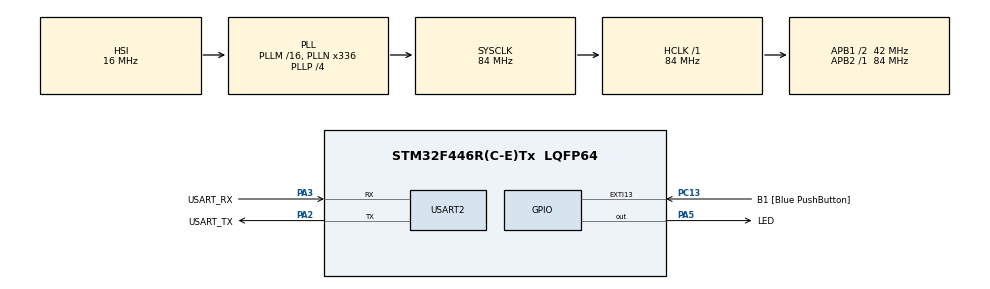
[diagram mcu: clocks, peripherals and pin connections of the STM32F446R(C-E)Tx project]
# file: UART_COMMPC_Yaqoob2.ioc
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Dma.Request0=USART2_RX
Dma.USART2_RX.0.Direction=DMA_PERIPH_TO_MEMORY
Dma.USART2_RX.0.FIFOMode=DMA_FIFOMODE_DISABLE
Dma.USART2_RX.0.Instance=DMA1_Stream5
Dma.USART2_RX.0.MemDataAlignment=DMA_MDATAALIGN_BYTE
Dma.USART2_RX.0.MemInc=DMA_MINC_ENABLE
Dma.USART2_RX.0.Mode=DMA_NORMAL
Dma.USART2_RX.0.PeriphDataAlignment=DMA_PDATAALIGN_BYTE
Dma.USART2_RX.0.PeriphInc=DMA_PINC_DISABLE
Dma.USART2_RX.0.Priority=DMA_PRIORITY_LOW
Mcu.Family=STM32F4
Mcu.Name=STM32F446R(C-E)Tx
Mcu.Package=LQFP64
NVIC.DMA1_Stream5_IRQn=true\:0\:0\:false\:false\:true\:false\:true
NVIC.PriorityGroup=NVIC_PRIORITYGROUP_0
NVIC.USART2_IRQn=true\:0\:0\:false\:false\:true\:true\:true
PA13.GPIO_Label=TMS
PA13.Signal=SYS_JTMS-SWDIO
PA14.GPIO_Label=TCK
PA14.Signal=SYS_JTCK-SWCLK
PA2.GPIO_Label=USART_TX
PA2.Mode=Asynchronous
PA2.Signal=USART2_TX
PA3.GPIO_Label=USART_RX
PA3.Mode=Asynchronous
PA3.Signal=USART2_RX
PA5.GPIO_Label=LED
PA5.Signal=GPIO_Output
PB3.GPIO_Label=SWO
PB3.Signal=SYS_JTDO-SWO
PC13.GPIO_Label=B1 [Blue PushButton]
PC13.GPIO_ModeDefaultEXTI=GPIO_MODE_IT_FALLING
PC13.Signal=GPXTI13
PC14-OSC32_IN.Signal=RCC_OSC32_IN
PC15-OSC32_OUT.Signal=RCC_OSC32_OUT
PH0-OSC_IN.Signal=RCC_OSC_IN
PH1-OSC_OUT.Signal=RCC_OSC_OUT
ProjectManager.HeapSize=0x200
ProjectManager.StackSize=0x400
ProjectManager.TargetToolchain=STM32CubeIDE
RCC.AHBFreq_Value=84000000
RCC.APB1CLKDivider=RCC_HCLK_DIV2
RCC.APB1Freq_Value=42000000
RCC.APB1TimFreq_Value=84000000
RCC.APB2Freq_Value=84000000
RCC.APB2TimFreq_Value=84000000
RCC.CortexFreq_Value=84000000
RCC.FLatency-AdvancedSettings=FLASH_LATENCY_2
RCC.HCLKFreq_Value=84000000
RCC.HSE_VALUE=8000000
RCC.HSI_VALUE=16000000
RCC.LSE_VALUE=32768
RCC.PLLN=336
RCC.PLLP=RCC_PLLP_DIV4
RCC.SYSCLKFreq_VALUE=84000000
RCC.SYSCLKSource=RCC_SYSCLKSOURCE_PLLCLK
RCC.USBFreq_Value=168000000
RCC.VCOOutputFreq_Value=336000000
USART2.VirtualMode=VM_ASYNC
board=NUCLEO-F446RE

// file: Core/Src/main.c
/* USER CODE BEGIN Header */
/**
  ******************************************************************************
  * @file           : main.c
  * @brief          : Main program body
  ******************************************************************************
  * @attention
  *
  * <h2><center>&copy; Copyright (c) 2020 STMicroelectronics.
  * All rights reserved.</center></h2>
  *
  * This software component is licensed by ST under BSD 3-Clause license,
  * the "License"; You may not use this file except in compliance with the
  * License. You may obtain a copy of the License at:
  *                        opensource.org/licenses/BSD-3-Clause
  *
  ******************************************************************************
  */
/* USER CODE END Header */

#include "main.h"

/* USER CODE BEGIN Includes */
#include <stdio.h>  //printf
#include <string.h>
/* USER CODE END Includes */

/* USER CODE BEGIN PTD */
#ifdef __GNUC__
  /* With GCC, small printf (option LD Linker->Libraries->Small printf
     set to 'Yes') calls __io_putchar() */
  #define PUTCHAR_PROTOTYPE int __io_putchar(int ch)
#else
  #define PUTCHAR_PROTOTYPE int fputc(int ch, FILE *f)
#endif /* __GNUC__ */
/* USER CODE END PTD */

UART_HandleTypeDef huart2;
DMA_HandleTypeDef hdma_usart2_rx;

void SystemClock_Config(void);
static void MX_GPIO_Init(void);
static void MX_DMA_Init(void);
static void MX_USART2_UART_Init(void);
/* USER CODE BEGIN PFP */
void application_handling(char *cmd);
/* USER CODE END PFP */

/* USER CODE BEGIN 0 */
char rxBuf[25];

//UART state machine
typedef enum
{
	UT_START = 0,
	UT_APP,
}Uart_StateMachine;

Uart_StateMachine myUART_State = UT_START;
/* USER CODE END 0 */

int main(void)
{

  /* MCU Configuration--------------------------------------------------------*/

  /* Reset of all peripherals, Initializes the Flash interface and the Systick. */
  HAL_Init();

  /* Configure the system clock */
  SystemClock_Config();

  /* Initialize all configured peripherals */
  MX_GPIO_Init();
  MX_DMA_Init();
  MX_USART2_UART_Init();
  /* USER CODE BEGIN 2 */
  printf("Starting my application...\r\n");

  //** Fixed size command of 3 bytes *[]#, Initialise
  //Handles received data
  	HAL_UART_Receive_DMA(&huart2, (uint8_t *)rxBuf, 3);
  /* USER CODE END 2 */

  /* Infinite loop */
  while (1)
  {

  }
}

void SystemClock_Config(void)
{
  RCC_OscInitTypeDef RCC_OscInitStruct = {0};
  RCC_ClkInitTypeDef RCC_ClkInitStruct = {0};

  /** Configure the main internal regulator output voltage
  */
  __HAL_RCC_PWR_CLK_ENABLE();
  __HAL_PWR_VOLTAGESCALING_CONFIG(PWR_REGULATOR_VOLTAGE_SCALE3);
  /** Initializes the CPU, AHB and APB busses clocks
  */
  RCC_OscInitStruct.OscillatorType = RCC_OSCILLATORTYPE_HSI;
  RCC_OscInitStruct.HSIState = RCC_HSI_ON;
  RCC_OscInitStruct.HSICalibrationValue = RCC_HSICALIBRATION_DEFAULT;
  RCC_OscInitStruct.PLL.PLLState = RCC_PLL_ON;
  RCC_OscInitStruct.PLL.PLLSource = RCC_PLLSOURCE_HSI;
  RCC_OscInitStruct.PLL.PLLM = 16;
  RCC_OscInitStruct.PLL.PLLN = 336;
  RCC_OscInitStruct.PLL.PLLP = RCC_PLLP_DIV4;
  RCC_OscInitStruct.PLL.PLLQ = 2;
  RCC_OscInitStruct.PLL.PLLR = 2;
  if (HAL_RCC_OscConfig(&RCC_OscInitStruct) != HAL_OK)
  {
    Error_Handler();
  }
  /** Initializes the CPU, AHB and APB busses clocks
  */
  RCC_ClkInitStruct.ClockType = RCC_CLOCKTYPE_HCLK|RCC_CLOCKTYPE_SYSCLK
                              |RCC_CLOCKTYPE_PCLK1|RCC_CLOCKTYPE_PCLK2;
  RCC_ClkInitStruct.SYSCLKSource = RCC_SYSCLKSOURCE_PLLCLK;
  RCC_ClkInitStruct.AHBCLKDivider = RCC_SYSCLK_DIV1;
  RCC_ClkInitStruct.APB1CLKDivider = RCC_HCLK_DIV2;
  RCC_ClkInitStruct.APB2CLKDivider = RCC_HCLK_DIV1;

  if (HAL_RCC_ClockConfig(&RCC_ClkInitStruct, FLASH_LATENCY_2) != HAL_OK)
  {
    Error_Handler();
  }
}

static void MX_USART2_UART_Init(void)
{

  huart2.Instance = USART2;
  huart2.Init.BaudRate = 115200;
  huart2.Init.WordLength = UART_WORDLENGTH_8B;
  huart2.Init.StopBits = UART_STOPBITS_1;
  huart2.Init.Parity = UART_PARITY_NONE;
  huart2.Init.Mode = UART_MODE_TX_RX;
  huart2.Init.HwFlowCtl = UART_HWCONTROL_NONE;
  huart2.Init.OverSampling = UART_OVERSAMPLING_16;
  if (HAL_UART_Init(&huart2) != HAL_OK)
  {
    Error_Handler();
  }

}

static void MX_DMA_Init(void)
{

  /* DMA controller clock enable */
  __HAL_RCC_DMA1_CLK_ENABLE();

  /* DMA interrupt init */
  /* DMA1_Stream5_IRQn interrupt configuration */
  HAL_NVIC_SetPriority(DMA1_Stream5_IRQn, 0, 0);
  HAL_NVIC_EnableIRQ(DMA1_Stream5_IRQn);

}

static void MX_GPIO_Init(void)
{
  GPIO_InitTypeDef GPIO_InitStruct = {0};

  /* GPIO Ports Clock Enable */
  __HAL_RCC_GPIOC_CLK_ENABLE();
  __HAL_RCC_GPIOH_CLK_ENABLE();
  __HAL_RCC_GPIOA_CLK_ENABLE();
  __HAL_RCC_GPIOB_CLK_ENABLE();

  /*Configure GPIO pin Output Level */
  HAL_GPIO_WritePin(LED_GPIO_Port, LED_Pin, GPIO_PIN_RESET);

  /*Configure GPIO pin : B1_Pin */
  GPIO_InitStruct.Pin = B1_Pin;
  GPIO_InitStruct.Mode = GPIO_MODE_IT_FALLING;
  GPIO_InitStruct.Pull = GPIO_NOPULL;
  HAL_GPIO_Init(B1_GPIO_Port, &GPIO_InitStruct);

  /*Configure GPIO pin : LED_Pin */
  GPIO_InitStruct.Pin = LED_Pin;
  GPIO_InitStruct.Mode = GPIO_MODE_OUTPUT_PP;
  GPIO_InitStruct.Pull = GPIO_NOPULL;
  GPIO_InitStruct.Speed = GPIO_SPEED_FREQ_LOW;
  HAL_GPIO_Init(LED_GPIO_Port, &GPIO_InitStruct);

}

/* USER CODE BEGIN 4 */
//just use printf to transmit data
PUTCHAR_PROTOTYPE
{
  /* Place your implementation of fputc here */
  /* e.g. write a character to the EVAL_COM1 and Loop until the end of transmission */
  HAL_UART_Transmit(&huart2, (uint8_t *)&ch, 1, 0xFFFF);

  return ch;
}

void HAL_UART_RxCpltCallback(UART_HandleTypeDef *huart)
{
  /* Prevent unused argument(s) compilation warning */
  UNUSED(huart);
  /* NOTE: This function should not be modified, when the callback is needed,
           the HAL_UART_RxCpltCallback could be implemented in the user file
   */

  switch(myUART_State){
  case UT_START:
	  //'*' = 42 in ascii
	  //'#' = 35 in ascii
	  if(rxBuf[0]=='*' && rxBuf[2]=='#'){
			//Start UART DMA receive based on User specified length (Caviat: always ensure user requested)
		  	if(rxBuf[1] <= sizeof(rxBuf)){
		  		printf("Send COMMAND: \r\n");
		  		HAL_UART_Receive_DMA(&huart2,(uint8_t *)rxBuf, rxBuf[1]);
		  		myUART_State = UT_APP;
		  	}
		  	else{
		  		printf("Invalid size\r\n");
		  		HAL_UART_Receive_DMA(&huart2,(uint8_t *)rxBuf,3);
		  	}
	  }
	  else{
			printf("Invalid command\r\n");
			HAL_UART_Receive_DMA(&huart2, (uint8_t *)rxBuf, 3);
	  }
	  break;
  case UT_APP:
	  application_handling(rxBuf);
	  memset(rxBuf, sizeof(rxBuf),0); //resets buffer to 0 to not leave any garbage
	  //Get back to state 1
	  myUART_State = UT_START;
	  break;
  }
  HAL_UART_Receive_DMA(&huart2,(uint8_t *)rxBuf,3); //listen for another message
}

//UART Application handling function
void application_handling(char *cmd)
{
	if(strstr(cmd, "LED ON") != NULL)
	{
		//Turn LED ON
		HAL_GPIO_WritePin(LED_GPIO_Port, LED_Pin, GPIO_PIN_SET);
		printf("LED Turned ON\r\n");
	}
	else if(strstr(cmd, "LED OFF") != NULL)
	{
		//Turn LED OFF
		HAL_GPIO_WritePin(LED_GPIO_Port, LED_Pin, GPIO_PIN_RESET);
		printf("LED Turned OFF\r\n");
	}
	else
	{
		//Invalid command
		printf("Invalid Command!\r\n");
	}
}
/* USER CODE END 4 */

void Error_Handler(void)
{
}

/************************ (C) COPYRIGHT STMicroelectronics *****END OF FILE****/
